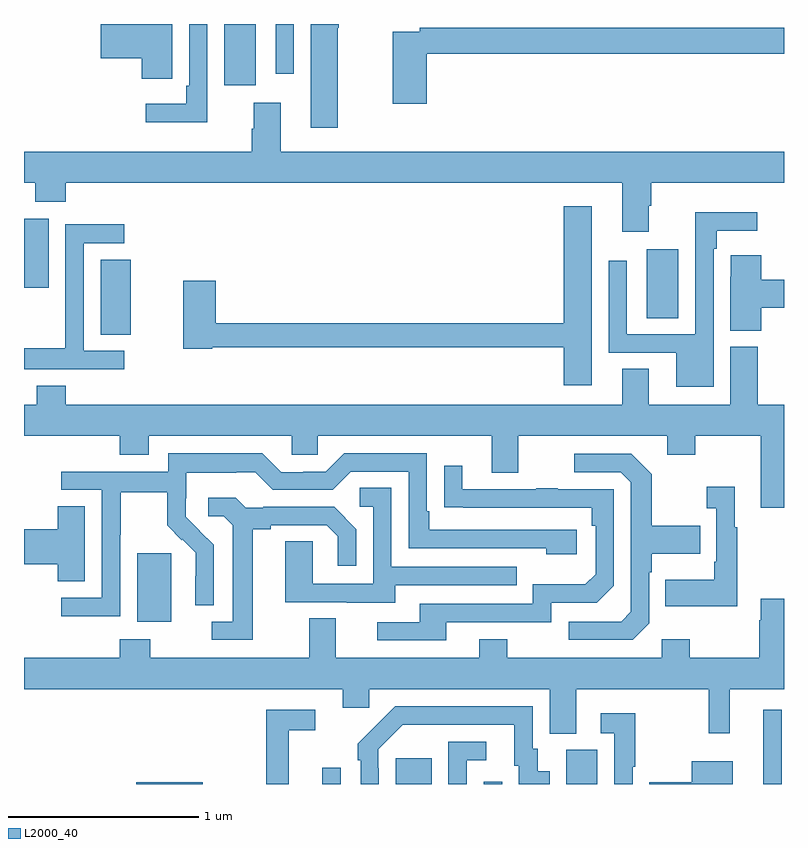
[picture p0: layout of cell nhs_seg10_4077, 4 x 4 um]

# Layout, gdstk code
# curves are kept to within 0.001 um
import gdstk
lib = gdstk.Library(unit=1e-6, precision=1e-09)
def R(c, l, rs):  # rectangles x0, y0, x1, y1
    for r in rs: c.add(gdstk.rectangle(r[:2], r[2:], *l))
def P(c, l, *ps):  # polygons
    for p in ps: c.add(gdstk.Polygon(p, *l))
L2000_40 = (2000, 40)

nhs_seg10_4077 = lib.new_cell('nhs_seg10_4077')
R(nhs_seg10_4077, L2000_40, [(337.59,1282.5,337.942,1282.508), (338.571,1282.5,338.667,1282.585), (338.957,1282.5,339.145,1282.636), (339.42,1282.5,339.516,1282.513), (339.854,1282.5,340.018,1282.68), (340.892,1282.5,340.989,1282.891), (337.595,1283.354,337.774,1283.715), (337.403,1284.865,337.561,1285.258), (340.277,1284.952,340.444,1285.315), (337,1285.113,337.129,1285.474), (338.054,1286.178,338.221,1286.5), (338.325,1286.238,338.421,1286.5)])
P(nhs_seg10_4077, L2000_40, [(337.965,1286.5),(337.869,1286.5),(337.869,1286.176),(337.853,1286.176),(337.853,1286.08),(337.641,1286.08),(337.641,1285.982),(337.965,1285.982)],
  [(337.779,1286.323),(337.78,1286.323),(337.78,1286.5),(337.404,1286.5),(337.404,1286.321),(337.619,1286.321),(337.619,1286.211),(337.779,1286.211)],
  [(338.652,1286.48),(338.657,1286.48),(338.657,1286.5),(338.51,1286.5),(338.51,1285.953),(338.652,1285.953)],
  [(339.119,1286.344),(341,1286.344),(341,1286.48),(339.082,1286.48),(339.082,1286.46),(338.941,1286.46),(338.941,1286.079),(339.119,1286.079)],
  [(340.288,1285.544),(340.301,1285.544),(340.301,1285.664),(341,1285.664),(341,1285.828),(338.35,1285.828),(338.35,1286.086),(338.21,1286.086),(338.21,1285.949),(338.198,1285.949),(338.198,1285.828),(337,1285.828),(337,1285.664),(337.06,1285.664),(337.06,1285.565),(337.22,1285.565),(337.22,1285.664),(340.148,1285.664),(340.148,1285.407),(340.288,1285.407)],
  [(339.988,1285.54),(339.842,1285.54),(339.842,1284.926),(338.009,1284.926),(338.009,1285.15),(337.838,1285.15),(337.838,1284.79),(337.992,1284.79),(337.992,1284.798),(339.842,1284.798),(339.842,1284.6),(339.988,1284.6)],
  [(340.629,1285.316),(340.645,1285.316),(340.645,1285.412),(340.858,1285.412),(340.858,1285.51),(340.533,1285.51),(340.533,1284.867),(340.173,1284.867),(340.173,1285.255),(340.077,1285.255),(340.077,1284.771),(340.433,1284.771),(340.433,1284.59),(340.629,1284.59)],
  [(337.528,1284.78),(337.314,1284.78),(337.314,1285.347),(337.528,1285.347),(337.528,1285.446),(337.218,1285.446),(337.218,1285.016),(337.216,1285.016),(337.216,1284.793),(337,1284.793),(337,1284.684),(337.528,1284.684)],
  [(340.88,1285.007),(341,1285.007),(341,1285.154),(340.88,1285.154),(340.88,1285.282),(340.719,1285.282),(340.719,1285.169),(340.718,1285.169),(340.718,1284.886),(340.88,1284.886)],
  [(341,1284.496),(340.862,1284.496),(340.862,1284.801),(340.718,1284.801),(340.718,1284.496),(340.288,1284.496),(340.288,1284.686),(340.148,1284.686),(340.148,1284.496),(337.22,1284.496),(337.22,1284.595),(337.067,1284.595),(337.067,1284.496),(337,1284.496),(337,1284.332),(337.505,1284.332),(337.505,1284.233),(337.657,1284.233),(337.657,1284.332),(338.409,1284.332),(338.409,1284.234),(338.547,1284.234),(338.547,1284.332),(339.461,1284.332),(339.461,1284.138),(339.601,1284.138),(339.601,1284.332),(340.385,1284.332),(340.385,1284.233),(340.533,1284.233),(340.533,1284.332),(340.877,1284.332),(340.877,1283.955),(341,1283.955)],
  [(337.506,1283.812),(337.509,1283.812),(337.509,1284.036),(337.753,1284.036),(337.753,1283.861),(337.83,1283.784),(337.833,1283.787),(337.904,1283.717),(337.904,1283.594),(337.902,1283.594),(337.902,1283.44),(337.998,1283.44),(337.998,1283.758),(337.852,1283.906),(337.852,1284.003),(337.854,1284.003),(337.854,1284.137),(338.117,1284.137),(338.117,1284.141),(338.217,1284.141),(338.31,1284.048),(338.625,1284.048),(338.721,1284.144),(339.024,1284.144),(339.024,1283.742),(339.749,1283.742),(339.749,1283.708),(339.91,1283.708),(339.91,1283.838),(339.133,1283.838),(339.133,1283.935),(339.12,1283.935),(339.12,1284.24),(338.685,1284.24),(338.589,1284.144),(338.471,1284.144),(338.471,1284.141),(338.355,1284.141),(338.255,1284.241),(337.758,1284.241),(337.758,1284.144),(337.197,1284.144),(337.197,1284.048),(337.41,1284.048),(337.41,1283.481),(337.197,1283.481),(337.197,1283.383),(337.506,1283.383)],
  [(340.29,1283.346),(340.29,1283.615),(340.303,1283.615),(340.303,1283.711),(340.559,1283.711),(340.559,1283.859),(340.303,1283.859),(340.303,1284.131),(340.197,1284.237),(339.897,1284.237),(339.897,1284.141),(340.14,1284.141),(340.194,1284.087),(340.194,1283.406),(340.143,1283.355),(339.867,1283.355),(339.867,1283.259),(340.203,1283.259)],
  [(339.223,1283.352),(339.774,1283.352),(339.774,1283.454),(340.014,1283.454),(340.104,1283.544),(340.104,1284.051),(339.809,1284.051),(339.809,1284.056),(339.697,1284.056),(339.697,1284.051),(339.307,1284.051),(339.307,1284.175),(339.211,1284.175),(339.211,1283.956),(339.988,1283.955),(339.988,1283.858),(340.008,1283.858),(340.008,1283.604),(339.955,1283.551),(339.678,1283.551),(339.678,1283.448),(339.083,1283.448),(339.083,1283.352),(338.859,1283.352),(338.859,1283.256),(339.223,1283.256)],
  [(340.753,1283.851),(340.741,1283.851),(340.741,1284.064),(340.593,1284.064),(340.593,1283.951),(340.644,1283.951),(340.644,1283.671),(340.632,1283.671),(340.632,1283.575),(340.375,1283.575),(340.375,1283.435),(340.753,1283.435)],
  [(338.953,1283.547),(339.593,1283.547),(339.593,1283.643),(338.934,1283.643),(338.934,1284.059),(338.766,1284.059),(338.766,1283.958),(338.838,1283.958),(338.838,1283.553),(338.52,1283.553),(338.52,1283.777),(338.375,1283.777),(338.375,1283.457),(338.699,1283.457),(338.699,1283.453),(338.953,1283.453)],
  [(338.203,1283.84),(338.299,1283.84),(338.299,1283.862),(338.594,1283.862),(338.651,1283.805),(338.651,1283.649),(338.748,1283.649),(338.748,1283.842),(338.632,1283.958),(338.26,1283.958),(338.26,1283.955),(338.166,1283.955),(338.114,1284.007),(337.971,1284.007),(337.971,1283.91),(338.052,1283.91),(338.099,1283.863),(338.099,1283.355),(337.989,1283.355),(337.989,1283.259),(338.203,1283.259)],
  [(337.321,1283.963),(337.178,1283.963),(337.178,1283.84),(337,1283.84),(337,1283.657),(337.178,1283.657),(337.178,1283.566),(337.321,1283.566)],
  [(339.907,1283),(340.605,1283),(340.605,1282.767),(340.715,1282.767),(340.715,1283),(341,1283),(341,1283.476),(340.877,1283.476),(340.877,1283.363),(340.87,1283.363),(340.87,1283.164),(340.503,1283.164),(340.503,1283.263),(340.356,1283.263),(340.356,1283.164),(339.543,1283.164),(339.543,1283.263),(339.395,1283.263),(339.395,1283.164),(338.641,1283.164),(338.641,1283.372),(338.501,1283.372),(338.501,1283.164),(337.665,1283.164),(337.665,1283.263),(337.505,1283.263),(337.505,1283.164),(337,1283.164),(337,1283),(338.678,1283),(338.678,1282.902),(338.817,1282.902),(338.817,1283),(339.767,1283),(339.767,1282.765),(339.907,1282.765)],
  [(338.868,1282.583),(338.865,1282.583),(338.865,1282.683),(338.994,1282.812),(339.581,1282.812),(339.581,1282.596),(339.605,1282.596),(339.605,1282.5),(339.766,1282.5),(339.766,1282.567),(339.703,1282.567),(339.703,1282.686),(339.678,1282.686),(339.678,1282.908),(338.954,1282.908),(338.757,1282.713),(338.757,1282.625),(338.772,1282.625),(338.772,1282.5),(338.868,1282.5)],
  [(338.393,1282.782),(338.533,1282.782),(338.533,1282.89),(338.275,1282.89),(338.275,1282.5),(338.393,1282.5)],
  [(340.203,1282.591),(340.216,1282.591),(340.216,1282.873),(340.035,1282.873),(340.035,1282.767),(340.107,1282.767),(340.107,1282.5),(340.203,1282.5)],
  [(339.33,1282.626),(339.433,1282.626),(339.433,1282.722),(339.234,1282.722),(339.234,1282.5),(339.33,1282.5)],
  [(340.729,1282.621),(340.514,1282.621),(340.514,1282.508),(340.29,1282.508),(340.29,1282.5),(340.729,1282.5)])

lib.write_gds('nhs_seg10_4077.gds')
